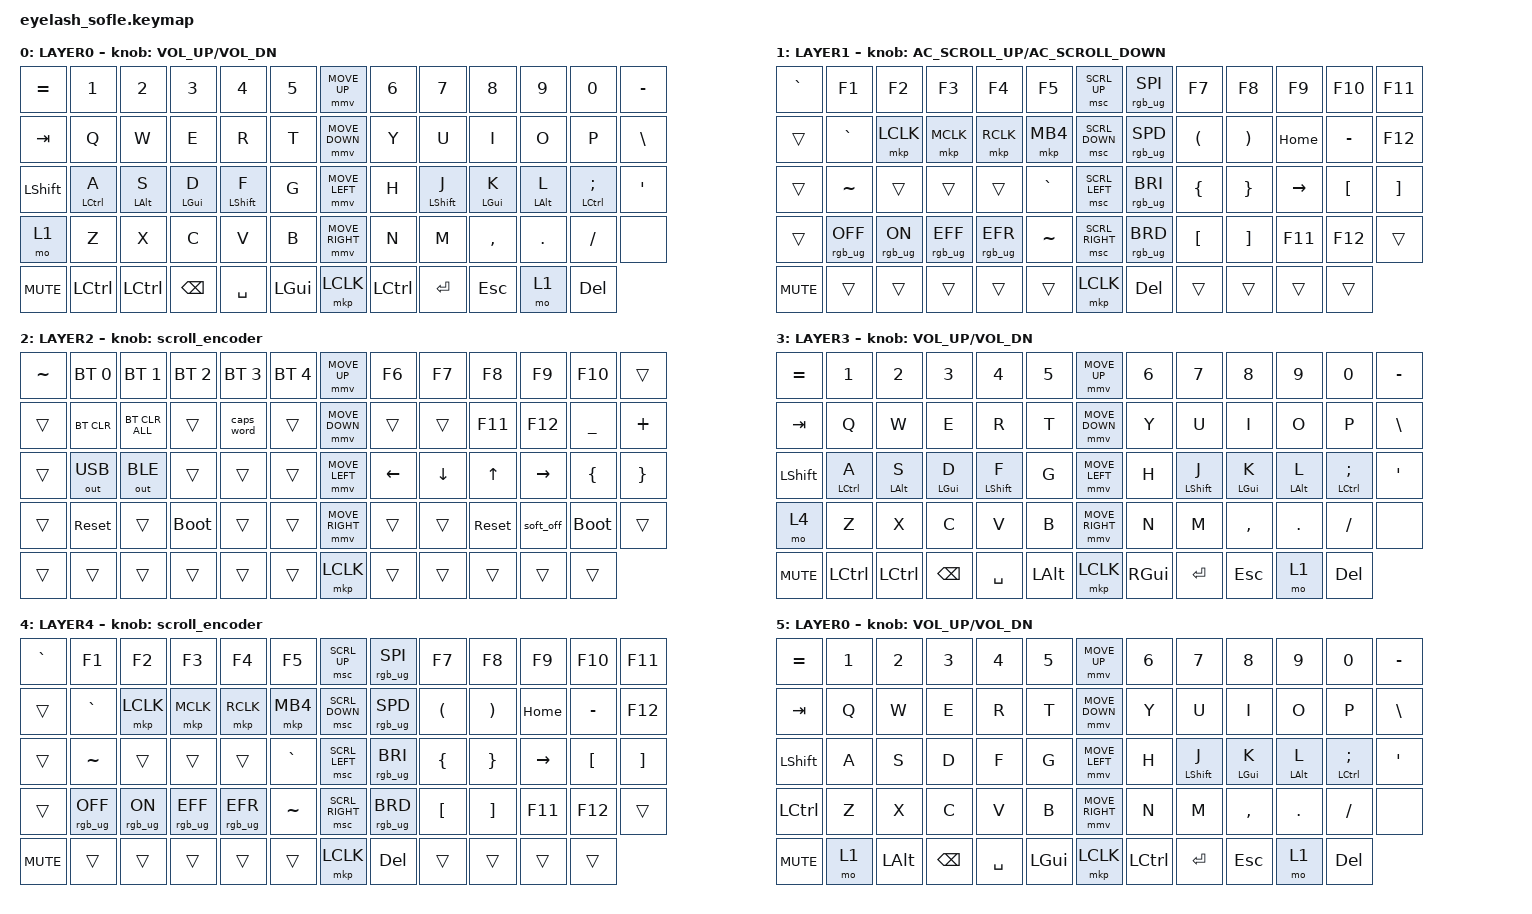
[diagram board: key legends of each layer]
#define ZMK_POINTING_DEFAULT_MOVE_VAL 1200  // 600
#define ZMK_POINTING_DEFAULT_SCRL_VAL 25   // 10

#include <input/processors.dtsi>
#include <zephyr/dt-bindings/input/input-event-codes.h>
#include <behaviors.dtsi>
#include <dt-bindings/zmk/bt.h>
#include <dt-bindings/zmk/keys.h>
#include <dt-bindings/zmk/outputs.h>
#include <dt-bindings/zmk/pointing.h>
#include <dt-bindings/zmk/rgb.h>

&mmv_input_listener { input-processors = <&zip_xy_scaler 2 1>; };

&msc_input_listener { input-processors = <&zip_scroll_scaler 2 1>; };

&msc {
    acceleration-exponent = <1>;      // 0
    time-to-max-speed-ms = <100>;       // 300
    delay-ms = <0>;                   // 0
};

&mmv {
    time-to-max-speed-ms = <500>;
    acceleration-exponent = <1>;
    trigger-period-ms = <16>;
};

/ {
    scroll_encoder: scroll_encoder {
        compatible = "zmk,behavior-sensor-rotate";
        #sensor-binding-cells = <0>;
        bindings = <&msc SCRL_DOWN>, <&msc SCRL_UP>;

        tap-ms = <100>;
    };

    hrml: hrml {
        compatible = "zmk,behavior-hold-tap";
        label = "HRML";
        bindings = <&kp>, <&kp>;

        #binding-cells = <2>;
        tapping-term-ms = <200>;
        flavor = "balanced";
        hold-trigger-on-release;
        hold-trigger-key-positions = <46 47 48 49 50 51 59 60 61 62 63 7 8 9 10 11 12 20 21 22 23 24 25 33 34 35 36 37 38 46 47 48 49>;
        require-prior-idle-ms = <125>;
    };

    hmrr: hmrr {
        compatible = "zmk,behavior-hold-tap";
        label = "HMRR";
        bindings = <&kp>, <&kp>;

        #binding-cells = <2>;
        tapping-term-ms = <200>;
        flavor = "balanced";
        hold-trigger-on-release;
        hold-trigger-key-positions = <0 1 2 3 4 5 13 14 15 16 17 18 26 27 28 29 30 31 39 40 41 42 43 44 53 54 55 56 57>;
        require-prior-idle-ms = <125>;
    };

    behaviors {
    };

    combos {
        compatible = "zmk,combos";

        reset-left {
            bindings = <&sys_reset>;
            key-positions = <0 5>;
        };

        reset-right {
            bindings = <&sys_reset>;
            key-positions = <12 7>;
        };

        h-vim {
            bindings = <&kp LEFT_ARROW>;
            key-positions = <59 33>;
        };

        vim-j {
            bindings = <&kp DOWN_ARROW>;
            key-positions = <59 34>;
        };

        k-vim {
            bindings = <&kp UP_ARROW>;
            key-positions = <59 35>;
        };

        l-vim {
            bindings = <&kp RIGHT_ARROW>;
            key-positions = <59 36>;
        };

        to-mac {
            bindings = <&to 3>;
            key-positions = <59 51>;
        };

        to-win {
            bindings = <&to 0>;
            key-positions = <59 38>;
        };

        to_game {
            bindings = <&to 5>;
            key-positions = <59 25>;
        };

        bluetooth_0 {
            bindings = <&bt BT_SEL 0>;
            key-positions = <39 0>;
        };

        bluetooth_1 {
            bindings = <&bt BT_SEL 1>;
            key-positions = <1 39>;
        };

        bluetooth_2 {
            bindings = <&bt BT_SEL 2>;
            key-positions = <39 2>;
        };

        bluetooth_clear {
            bindings = <&bt BT_CLR>;
            key-positions = <39 13>;
        };
    };

    keymap {
        compatible = "zmk,keymap";

        layer0 {
            bindings = <
&kp EQUAL       &kp N1         &kp N2            &kp N3            &kp N4              &kp N5          &mmv MOVE_UP     &kp N6     &kp N7              &kp N8            &kp N9            &kp N0                 &kp MINUS
&kp TAB         &kp Q          &kp W             &kp E             &kp R               &kp T           &mmv MOVE_DOWN   &kp Y      &kp U               &kp I             &kp O             &kp P                  &kp BSLH
&kp LEFT_SHIFT  &hrml LCTRL A  &hrml LEFT_ALT S  &hrml LEFT_GUI D  &hrml LEFT_SHIFT F  &kp G           &mmv MOVE_LEFT   &kp H      &hmrr LEFT_SHIFT J  &hmrr LEFT_GUI K  &hmrr LEFT_ALT L  &hmrr LCTRL SEMICOLON  &kp APOS
&mo 1           &kp Z          &kp X             &kp C             &kp V               &kp B           &mmv MOVE_RIGHT  &kp N      &kp M               &kp COMMA         &kp DOT           &kp FSLH               &none
&kp C_MUTE      &kp LCTRL      &kp LCTRL         &kp BACKSPACE     &kp SPACE           &kp LEFT_GUI    &mkp LCLK        &kp LCTRL  &kp ENTER           &kp ESCAPE        &mo 1             &kp DELETE
            >;

            sensor-bindings = <&inc_dec_kp C_VOLUME_UP C_VOL_DN>;
            display-name = "LAYER0";
        };

        layer_1 {
            bindings = <
&kp GRAVE   &kp F1           &kp F2          &kp F3           &kp F4           &kp F5       &msc SCRL_UP     &rgb_ug RGB_SPI  &kp F7                &kp F8                 &kp F9     &kp F10           &kp F11
&trans      &kp GRAVE        &mkp LCLK       &mkp MCLK        &mkp RCLK        &mkp MB4     &msc SCRL_DOWN   &rgb_ug RGB_SPD  &kp LEFT_PARENTHESIS  &kp RIGHT_PARENTHESIS  &kp HOME   &kp MINUS         &kp F12
&trans      &kp TILDE        &trans          &trans           &trans           &kp GRAVE    &msc SCRL_LEFT   &rgb_ug RGB_BRI  &kp LEFT_BRACE        &kp RIGHT_BRACE        &kp RIGHT  &kp LEFT_BRACKET  &kp RIGHT_BRACKET
&trans      &rgb_ug RGB_OFF  &rgb_ug RGB_ON  &rgb_ug RGB_EFF  &rgb_ug RGB_EFR  &kp TILDE    &msc SCRL_RIGHT  &rgb_ug RGB_BRD  &kp LEFT_BRACKET      &kp RIGHT_BRACKET      &kp F11    &kp F12           &trans
&kp C_MUTE  &trans           &trans          &trans           &trans           &trans       &mkp LCLK        &kp DELETE       &trans                &trans                 &trans     &trans
            >;

            display-name = "LAYER1";
            sensor-bindings = <&inc_dec_kp C_AC_SCROLL_UP C_AC_SCROLL_DOWN>;
        };

        layer_2 {
            bindings = <
&kp TILDE  &bt BT_SEL 0  &bt BT_SEL 1    &bt BT_SEL 2  &bt BT_SEL 3  &bt BT_SEL 4    &mmv MOVE_UP     &kp F6    &kp F7          &kp F8        &kp F9           &kp F10      &trans
&trans     &bt BT_CLR    &bt BT_CLR_ALL  &trans        &caps_word    &trans          &mmv MOVE_DOWN   &trans    &trans          &kp F11       &kp F12          &kp UNDER    &kp PLUS
&trans     &out OUT_USB  &out OUT_BLE    &trans        &trans        &trans          &mmv MOVE_LEFT   &kp LEFT  &kp DOWN_ARROW  &kp UP_ARROW  &kp RIGHT_ARROW  &kp LBRC     &kp RBRC
&trans     &sys_reset    &trans          &bootloader   &trans        &trans          &mmv MOVE_RIGHT  &trans    &trans          &sys_reset    &soft_off        &bootloader  &trans
&trans     &trans        &trans          &trans        &trans        &trans          &mkp LCLK        &trans    &trans          &trans        &trans           &trans
            >;

            display-name = "LAYER2";
            sensor-bindings = <&scroll_encoder>;
        };

        layer_3 {
            display-name = "LAYER3";
            bindings = <
&kp EQUAL       &kp N1         &kp N2            &kp N3            &kp N4              &kp N5          &mmv MOVE_UP     &kp N6         &kp N7              &kp N8            &kp N9            &kp N0                 &kp MINUS
&kp TAB         &kp Q          &kp W             &kp E             &kp R               &kp T           &mmv MOVE_DOWN   &kp Y          &kp U               &kp I             &kp O             &kp P                  &kp BSLH
&kp LEFT_SHIFT  &hrml LCTRL A  &hrml LEFT_ALT S  &hrml LEFT_GUI D  &hrml LEFT_SHIFT F  &kp G           &mmv MOVE_LEFT   &kp H          &hmrr LEFT_SHIFT J  &hmrr LEFT_GUI K  &hmrr LEFT_ALT L  &hmrr LCTRL SEMICOLON  &kp APOS
&mo 4           &kp Z          &kp X             &kp C             &kp V               &kp B           &mmv MOVE_RIGHT  &kp N          &kp M               &kp COMMA         &kp DOT           &kp FSLH               &none
&kp C_MUTE      &kp LCTRL      &kp LCTRL         &kp BACKSPACE     &kp SPACE           &kp LEFT_ALT    &mkp LCLK        &kp RIGHT_GUI  &kp ENTER           &kp ESCAPE        &mo 1             &kp DELETE
            >;

            sensor-bindings = <&inc_dec_kp C_VOLUME_UP C_VOL_DN>;
        };

        layer_4 {
            display-name = "LAYER4";
            bindings = <
&kp GRAVE   &kp F1           &kp F2          &kp F3           &kp F4           &kp F5       &msc SCRL_UP     &rgb_ug RGB_SPI  &kp F7                &kp F8                 &kp F9     &kp F10           &kp F11
&trans      &kp GRAVE        &mkp LCLK       &mkp MCLK        &mkp RCLK        &mkp MB4     &msc SCRL_DOWN   &rgb_ug RGB_SPD  &kp LEFT_PARENTHESIS  &kp RIGHT_PARENTHESIS  &kp HOME   &kp MINUS         &kp F12
&trans      &kp TILDE        &trans          &trans           &trans           &kp GRAVE    &msc SCRL_LEFT   &rgb_ug RGB_BRI  &kp LEFT_BRACE        &kp RIGHT_BRACE        &kp RIGHT  &kp LEFT_BRACKET  &kp RIGHT_BRACKET
&trans      &rgb_ug RGB_OFF  &rgb_ug RGB_ON  &rgb_ug RGB_EFF  &rgb_ug RGB_EFR  &kp TILDE    &msc SCRL_RIGHT  &rgb_ug RGB_BRD  &kp LEFT_BRACKET      &kp RIGHT_BRACKET      &kp F11    &kp F12           &trans
&kp C_MUTE  &trans           &trans          &trans           &trans           &trans       &mkp LCLK        &kp DELETE       &trans                &trans                 &trans     &trans
            >;

            sensor-bindings = <&scroll_encoder>;
        };

        win_game {
            display-name = "LAYER0";
            bindings = <
&kp EQUAL       &kp N1  &kp N2        &kp N3         &kp N4     &kp N5          &mmv MOVE_UP     &kp N6     &kp N7              &kp N8            &kp N9            &kp N0                 &kp MINUS
&kp TAB         &kp Q   &kp W         &kp E          &kp R      &kp T           &mmv MOVE_DOWN   &kp Y      &kp U               &kp I             &kp O             &kp P                  &kp BSLH
&kp LEFT_SHIFT  &kp A   &kp S         &kp D          &kp F      &kp G           &mmv MOVE_LEFT   &kp H      &hmrr LEFT_SHIFT J  &hmrr LEFT_GUI K  &hmrr LEFT_ALT L  &hmrr LCTRL SEMICOLON  &kp APOS
&kp LCTRL       &kp Z   &kp X         &kp C          &kp V      &kp B           &mmv MOVE_RIGHT  &kp N      &kp M               &kp COMMA         &kp DOT           &kp FSLH               &none
&kp C_MUTE      &mo 1   &kp LEFT_ALT  &kp BACKSPACE  &kp SPACE  &kp LEFT_GUI    &mkp LCLK        &kp LCTRL  &kp ENTER           &kp ESCAPE        &mo 1             &kp DELETE
            >;

            sensor-bindings = <&inc_dec_kp C_VOLUME_UP C_VOL_DN>;
        };
    };
};
